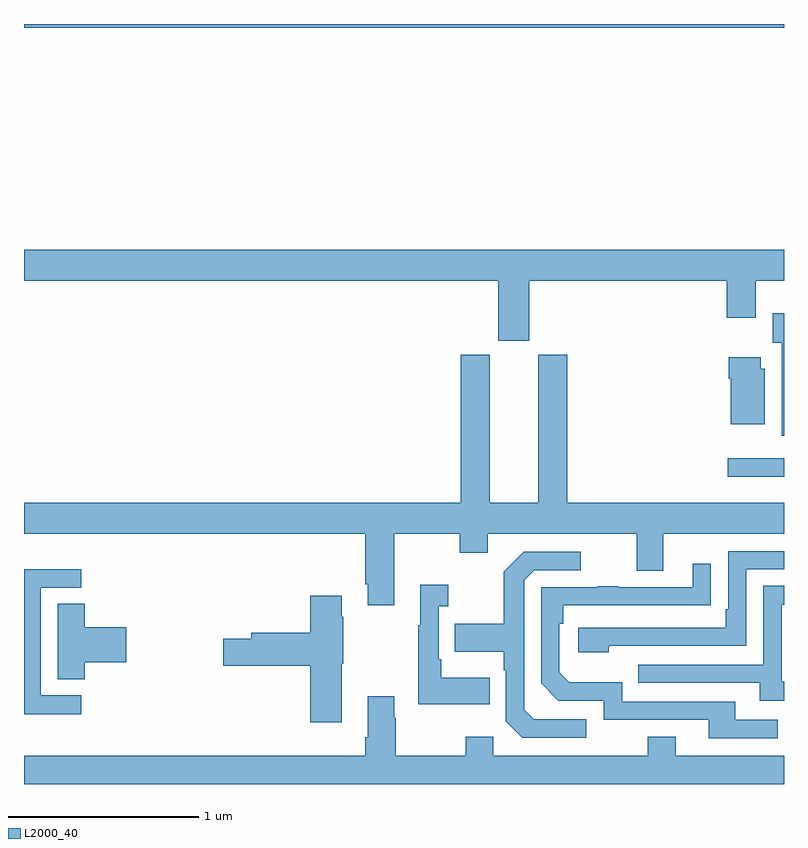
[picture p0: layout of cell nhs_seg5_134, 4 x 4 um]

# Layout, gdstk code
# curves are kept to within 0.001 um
import gdstk
lib = gdstk.Library(unit=1e-6, precision=1e-09)
def R(c, l, rs):  # rectangles x0, y0, x1, y1
    for r in rs: c.add(gdstk.rectangle(r[:2], r[2:], *l))
def P(c, l, *ps):  # polygons
    for p in ps: c.add(gdstk.Polygon(p, *l))
L2000_40 = (2000, 40)

nhs_seg5_134 = lib.new_cell('nhs_seg5_134')
R(nhs_seg5_134, L2000_40, [(122.703,834.416,123,834.513), (119,836.78,123,836.799)])
P(nhs_seg5_134, L2000_40, [(121.66,835.448),(122.699,835.448),(122.699,835.254),(122.851,835.254),(122.851,835.448),(123,835.448),(123,835.612),(119,835.612),(119,835.448),(121.496,835.448),(121.496,835.131),(121.66,835.131)],
  [(123,835.276),(122.942,835.276),(122.942,835.122),(122.987,835.122),(122.987,834.633),(123,834.633)],
  [(120.949,834.116),(121.294,834.116),(121.294,834.017),(121.441,834.017),(121.441,834.116),(122.225,834.116),(122.225,833.922),(122.365,833.922),(122.365,834.116),(123,834.116),(123,834.28),(121.859,834.28),(121.859,835.059),(121.706,835.059),(121.706,834.28),(121.45,834.28),(121.45,835.059),(121.298,835.059),(121.298,834.28),(119,834.28),(119,834.116),(120.797,834.116),(120.797,833.851),(120.809,833.851),(120.809,833.739),(120.949,833.739)],
  [(122.899,834.984),(122.878,834.984),(122.878,835.045),(122.708,835.045),(122.708,834.932),(122.72,834.932),(122.72,834.692),(122.899,834.692)],
  [(122.078,833.526),(122.802,833.526),(122.802,833.928),(123,833.928),(123,834.024),(122.706,834.024),(122.706,833.719),(122.693,833.719),(122.693,833.622),(121.917,833.622),(121.917,833.492),(122.078,833.492)],
  [(121.96,833.139),(121.683,833.139),(121.632,833.19),(121.632,833.871),(121.686,833.925),(121.93,833.925),(121.93,834.021),(121.629,834.021),(121.524,833.915),(121.524,833.643),(121.267,833.643),(121.267,833.495),(121.524,833.495),(121.524,833.399),(121.536,833.399),(121.536,833.13),(121.623,833.043),(121.96,833.043)],
  [(122.968,833.136),(122.743,833.136),(122.743,833.232),(122.148,833.232),(122.148,833.335),(121.871,833.335),(121.818,833.388),(121.818,833.642),(121.838,833.642),(121.838,833.739),(122.615,833.74),(122.615,833.959),(122.519,833.959),(122.519,833.835),(122.129,833.835),(122.129,833.84),(122.017,833.84),(122.017,833.835),(121.722,833.835),(121.722,833.328),(121.812,833.238),(122.052,833.238),(122.052,833.136),(122.603,833.136),(122.603,833.04),(122.968,833.04)],
  [(119.302,833.265),(119.088,833.265),(119.088,833.832),(119.302,833.832),(119.302,833.928),(119,833.928),(119,833.167),(119.302,833.167)],
  [(121.451,833.359),(121.195,833.359),(121.195,833.455),(121.182,833.455),(121.182,833.735),(121.234,833.735),(121.234,833.848),(121.085,833.848),(121.085,833.635),(121.074,833.635),(121.074,833.219),(121.451,833.219)],
  [(123,833.337),(122.988,833.337),(122.988,833.742),(123,833.742),(123,833.843),(122.892,833.843),(122.892,833.427),(122.233,833.427),(122.233,833.331),(122.873,833.331),(122.873,833.237),(123,833.237)],
  [(120.673,833.433),(120.681,833.433),(120.681,833.678),(120.673,833.678),(120.673,833.791),(120.506,833.791),(120.506,833.594),(120.197,833.594),(120.197,833.564),(120.048,833.564),(120.048,833.422),(120.506,833.422),(120.506,833.124),(120.673,833.124)],
  [(119.321,833.441),(119.539,833.441),(119.539,833.624),(119.321,833.624),(119.321,833.747),(119.177,833.747),(119.177,833.35),(119.321,833.35)],
  [(123,832.948),(122.431,832.948),(122.431,833.047),(122.284,833.047),(122.284,832.948),(121.47,832.948),(121.47,833.047),(121.324,833.047),(121.324,832.948),(120.957,832.948),(120.957,833.147),(120.949,833.147),(120.949,833.26),(120.809,833.26),(120.809,833.044),(120.797,833.044),(120.797,832.948),(119,832.948),(119,832.799),(123,832.799)])

lib.write_gds('nhs_seg5_134.gds')
